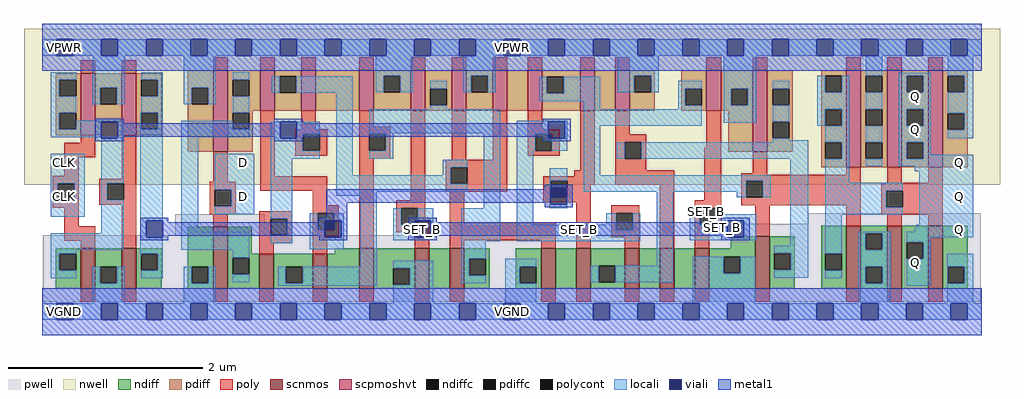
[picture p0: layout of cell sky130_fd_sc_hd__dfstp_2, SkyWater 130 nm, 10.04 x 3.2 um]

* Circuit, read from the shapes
.subckt sky130_fd_sc_hd__dfstp_2 CLK D SET_B VGND VNB VPB VPWR Q
XM1 VGND CLK n1 VNB sky130_fd_pr__nfet_01v8 w=0.42 l=0.15
XM2 n2 n1 VGND VNB sky130_fd_pr__nfet_01v8 w=0.42 l=0.15
XM3 n3 D VGND VNB sky130_fd_pr__nfet_01v8 w=0.64 l=0.15
XM4 n4 n1 n3 VNB sky130_fd_pr__nfet_01v8 w=0.36 l=0.15
XM5 n5 n2 n4 VNB sky130_fd_pr__nfet_01v8 w=0.36 l=0.15
XM6 VGND n6 n5 VNB sky130_fd_pr__nfet_01v8 w=0.42 l=0.15
XM7 n7 SET_B VGND VNB sky130_fd_pr__nfet_01v8 w=0.42 l=0.15
XM8 n6 n4 n7 VNB sky130_fd_pr__nfet_01v8 w=0.42 l=0.15
XM9 n8 n4 VGND VNB sky130_fd_pr__nfet_01v8 w=0.42 l=0.15
XM10 n9 n2 n8 VNB sky130_fd_pr__nfet_01v8 w=0.42 l=0.15
XM11 n10 n1 n9 VNB sky130_fd_pr__nfet_01v8 w=0.42 l=0.15
XM12 n11 n12 n10 VNB sky130_fd_pr__nfet_01v8 w=0.42 l=0.15
XM13 VGND SET_B n11 VNB sky130_fd_pr__nfet_01v8 w=0.42 l=0.15
XM14 n12 n9 VGND VNB sky130_fd_pr__nfet_01v8 w=0.54 l=0.15
XM15 VGND n9 n13 VNB sky130_fd_pr__nfet_01v8 w=0.65 l=0.15
XM16 Q n13 VGND VNB sky130_fd_pr__nfet_01v8 w=0.65 l=0.15 m=2
XM17 VPWR CLK n1 VPB sky130_fd_pr__pfet_01v8_hvt w=0.64 l=0.15
XM18 n2 n1 VPWR VPB sky130_fd_pr__pfet_01v8_hvt w=0.64 l=0.15
XM19 n3 D VPWR VPB sky130_fd_pr__pfet_01v8_hvt w=0.84 l=0.15
XM20 n4 n2 n3 VPB sky130_fd_pr__pfet_01v8_hvt w=0.42 l=0.15
XM21 n14 n1 n4 VPB sky130_fd_pr__pfet_01v8_hvt w=0.42 l=0.15
XM22 VPWR n6 n14 VPB sky130_fd_pr__pfet_01v8_hvt w=0.42 l=0.15
XM23 n6 SET_B VPWR VPB sky130_fd_pr__pfet_01v8_hvt w=0.42 l=0.15
XM24 VPWR n4 n6 VPB sky130_fd_pr__pfet_01v8_hvt w=0.42 l=0.15
XM25 n15 n4 VPWR VPB sky130_fd_pr__pfet_01v8_hvt w=0.42 l=0.15
XM26 n9 n1 n15 VPB sky130_fd_pr__pfet_01v8_hvt w=0.42 l=0.15
XM27 n16 n2 n9 VPB sky130_fd_pr__pfet_01v8_hvt w=0.42 l=0.15
XM28 VPWR n12 n16 VPB sky130_fd_pr__pfet_01v8_hvt w=0.42 l=0.15
XM29 VPWR SET_B n9 VPB sky130_fd_pr__pfet_01v8_hvt w=0.42 l=0.15
XM30 n12 n9 VPWR VPB sky130_fd_pr__pfet_01v8_hvt w=0.84 l=0.15
XM31 VPWR n9 n13 VPB sky130_fd_pr__pfet_01v8_hvt w=1 l=0.15
XM32 Q n13 VPWR VPB sky130_fd_pr__pfet_01v8_hvt w=1 l=0.15 m=2
.ends

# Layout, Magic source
magic
tech sky130A
magscale 1 2
<< nwell >>
rect -38 261 1970 582
<< pwell >>
rect 273 157 457 201
rect 1576 181 1930 203
rect 1390 157 1930 181
rect 1 21 1930 157
rect 29 -17 63 21
<< scnmos >>
rect 79 47 109 131
rect 163 47 193 131
rect 351 47 381 175
rect 446 47 476 119
rect 556 47 586 119
rect 652 47 682 131
rect 766 47 796 131
rect 838 47 868 131
rect 1026 47 1056 131
rect 1098 47 1128 131
rect 1198 47 1228 131
rect 1270 47 1300 131
rect 1342 47 1372 131
rect 1466 47 1496 155
rect 1654 47 1684 177
rect 1738 47 1768 177
rect 1822 47 1852 177
<< scpmoshvt >>
rect 79 363 109 491
rect 163 363 193 491
rect 351 329 381 497
rect 448 413 478 497
rect 532 413 562 497
rect 652 413 682 497
rect 758 413 788 497
rect 842 413 872 497
rect 926 413 956 497
rect 998 413 1028 497
rect 1106 413 1136 497
rect 1178 413 1208 497
rect 1366 413 1396 497
rect 1461 329 1491 497
rect 1654 297 1684 497
rect 1738 297 1768 497
rect 1822 297 1852 497
<< ndiff >>
rect 27 119 79 131
rect 27 85 35 119
rect 69 85 79 119
rect 27 47 79 85
rect 109 93 163 131
rect 109 59 119 93
rect 153 59 163 93
rect 109 47 163 59
rect 193 119 245 131
rect 193 85 203 119
rect 237 85 245 119
rect 193 47 245 85
rect 299 93 351 175
rect 299 59 307 93
rect 341 59 351 93
rect 299 47 351 59
rect 381 119 431 175
rect 1416 131 1466 155
rect 601 119 652 131
rect 381 111 446 119
rect 381 77 391 111
rect 425 77 446 111
rect 381 47 446 77
rect 476 93 556 119
rect 476 59 501 93
rect 535 59 556 93
rect 476 47 556 59
rect 586 47 652 119
rect 682 89 766 131
rect 682 55 722 89
rect 756 55 766 89
rect 682 47 766 55
rect 796 47 838 131
rect 868 109 920 131
rect 868 75 878 109
rect 912 75 920 109
rect 868 47 920 75
rect 974 93 1026 131
rect 974 59 982 93
rect 1016 59 1026 93
rect 974 47 1026 59
rect 1056 47 1098 131
rect 1128 95 1198 131
rect 1128 61 1144 95
rect 1178 61 1198 95
rect 1128 47 1198 61
rect 1228 47 1270 131
rect 1300 47 1342 131
rect 1372 113 1466 131
rect 1372 79 1402 113
rect 1436 79 1466 113
rect 1372 47 1466 79
rect 1496 120 1548 155
rect 1496 86 1506 120
rect 1540 86 1548 120
rect 1496 47 1548 86
rect 1602 119 1654 177
rect 1602 85 1610 119
rect 1644 85 1654 119
rect 1602 47 1654 85
rect 1684 161 1738 177
rect 1684 127 1694 161
rect 1728 127 1738 161
rect 1684 93 1738 127
rect 1684 59 1694 93
rect 1728 59 1738 93
rect 1684 47 1738 59
rect 1768 143 1822 177
rect 1768 109 1778 143
rect 1812 109 1822 143
rect 1768 47 1822 109
rect 1852 93 1904 177
rect 1852 59 1862 93
rect 1896 59 1904 93
rect 1852 47 1904 59
<< pdiff >>
rect 27 477 79 491
rect 27 443 35 477
rect 69 443 79 477
rect 27 409 79 443
rect 27 375 35 409
rect 69 375 79 409
rect 27 363 79 375
rect 109 461 163 491
rect 109 427 119 461
rect 153 427 163 461
rect 109 363 163 427
rect 193 477 245 491
rect 193 443 203 477
rect 237 443 245 477
rect 193 409 245 443
rect 193 375 203 409
rect 237 375 245 409
rect 193 363 245 375
rect 299 461 351 497
rect 299 427 307 461
rect 341 427 351 461
rect 299 329 351 427
rect 381 477 448 497
rect 381 443 391 477
rect 425 443 448 477
rect 381 413 448 443
rect 478 484 532 497
rect 478 450 488 484
rect 522 450 532 484
rect 478 413 532 450
rect 562 413 652 497
rect 682 485 758 497
rect 682 451 702 485
rect 736 451 758 485
rect 682 413 758 451
rect 788 459 842 497
rect 788 425 798 459
rect 832 425 842 459
rect 788 413 842 425
rect 872 485 926 497
rect 872 451 882 485
rect 916 451 926 485
rect 872 413 926 451
rect 956 413 998 497
rect 1028 483 1106 497
rect 1028 449 1038 483
rect 1072 449 1106 483
rect 1028 413 1106 449
rect 1136 413 1178 497
rect 1208 485 1260 497
rect 1208 451 1218 485
rect 1252 451 1260 485
rect 1208 413 1260 451
rect 1314 459 1366 497
rect 1314 425 1322 459
rect 1356 425 1366 459
rect 1314 413 1366 425
rect 1396 459 1461 497
rect 1396 425 1417 459
rect 1451 425 1461 459
rect 1396 413 1461 425
rect 381 409 433 413
rect 381 375 391 409
rect 425 375 433 409
rect 381 329 433 375
rect 1411 329 1461 413
rect 1491 459 1544 497
rect 1491 425 1502 459
rect 1536 425 1544 459
rect 1491 391 1544 425
rect 1491 357 1502 391
rect 1536 357 1544 391
rect 1491 329 1544 357
rect 1602 485 1654 497
rect 1602 451 1610 485
rect 1644 451 1654 485
rect 1602 417 1654 451
rect 1602 383 1610 417
rect 1644 383 1654 417
rect 1602 349 1654 383
rect 1602 315 1610 349
rect 1644 315 1654 349
rect 1602 297 1654 315
rect 1684 485 1738 497
rect 1684 451 1694 485
rect 1728 451 1738 485
rect 1684 417 1738 451
rect 1684 383 1694 417
rect 1728 383 1738 417
rect 1684 349 1738 383
rect 1684 315 1694 349
rect 1728 315 1738 349
rect 1684 297 1738 315
rect 1768 485 1822 497
rect 1768 451 1778 485
rect 1812 451 1822 485
rect 1768 417 1822 451
rect 1768 383 1778 417
rect 1812 383 1822 417
rect 1768 349 1822 383
rect 1768 315 1778 349
rect 1812 315 1822 349
rect 1768 297 1822 315
rect 1852 485 1904 497
rect 1852 451 1862 485
rect 1896 451 1904 485
rect 1852 408 1904 451
rect 1852 374 1862 408
rect 1896 374 1904 408
rect 1852 297 1904 374
<< ndiffc >>
rect 35 85 69 119
rect 119 59 153 93
rect 203 85 237 119
rect 307 59 341 93
rect 391 77 425 111
rect 501 59 535 93
rect 722 55 756 89
rect 878 75 912 109
rect 982 59 1016 93
rect 1144 61 1178 95
rect 1402 79 1436 113
rect 1506 86 1540 120
rect 1610 85 1644 119
rect 1694 127 1728 161
rect 1694 59 1728 93
rect 1778 109 1812 143
rect 1862 59 1896 93
<< pdiffc >>
rect 35 443 69 477
rect 35 375 69 409
rect 119 427 153 461
rect 203 443 237 477
rect 203 375 237 409
rect 307 427 341 461
rect 391 443 425 477
rect 488 450 522 484
rect 702 451 736 485
rect 798 425 832 459
rect 882 451 916 485
rect 1038 449 1072 483
rect 1218 451 1252 485
rect 1322 425 1356 459
rect 1417 425 1451 459
rect 391 375 425 409
rect 1502 425 1536 459
rect 1502 357 1536 391
rect 1610 451 1644 485
rect 1610 383 1644 417
rect 1610 315 1644 349
rect 1694 451 1728 485
rect 1694 383 1728 417
rect 1694 315 1728 349
rect 1778 451 1812 485
rect 1778 383 1812 417
rect 1778 315 1812 349
rect 1862 451 1896 485
rect 1862 374 1896 408
<< poly >>
rect 79 491 109 517
rect 163 491 193 517
rect 351 497 381 523
rect 448 497 478 523
rect 532 497 562 523
rect 652 497 682 523
rect 758 497 788 523
rect 842 497 872 523
rect 926 497 956 523
rect 998 497 1028 523
rect 1106 497 1136 523
rect 1178 497 1208 523
rect 1366 497 1396 523
rect 1461 497 1491 523
rect 1654 497 1684 523
rect 1738 497 1768 523
rect 1822 497 1852 523
rect 79 348 109 363
rect 45 318 109 348
rect 45 280 75 318
rect 21 264 75 280
rect 163 274 193 363
rect 21 230 31 264
rect 65 230 75 264
rect 21 214 75 230
rect 117 264 193 274
rect 351 267 381 329
rect 448 279 478 413
rect 532 375 562 413
rect 652 381 682 413
rect 520 365 586 375
rect 520 331 536 365
rect 570 331 586 365
rect 520 321 586 331
rect 652 365 716 381
rect 652 331 672 365
rect 706 331 716 365
rect 652 315 716 331
rect 117 230 133 264
rect 167 230 193 264
rect 117 220 193 230
rect 45 176 75 214
rect 45 146 109 176
rect 79 131 109 146
rect 163 131 193 220
rect 344 251 398 267
rect 344 217 354 251
rect 388 217 398 251
rect 448 249 586 279
rect 344 201 398 217
rect 556 219 586 249
rect 351 175 381 201
rect 446 191 514 207
rect 446 157 470 191
rect 504 157 514 191
rect 446 141 514 157
rect 556 203 610 219
rect 556 169 566 203
rect 600 169 610 203
rect 556 153 610 169
rect 446 119 476 141
rect 556 119 586 153
rect 652 131 682 315
rect 758 229 788 413
rect 842 313 872 413
rect 926 313 956 413
rect 998 375 1028 413
rect 998 365 1064 375
rect 998 331 1014 365
rect 1048 331 1064 365
rect 998 321 1064 331
rect 830 297 956 313
rect 830 263 840 297
rect 874 263 956 297
rect 1106 291 1136 413
rect 1094 279 1136 291
rect 830 247 956 263
rect 1030 269 1136 279
rect 728 213 788 229
rect 728 179 738 213
rect 772 193 788 213
rect 772 179 796 193
rect 728 163 796 179
rect 766 131 796 163
rect 838 183 868 247
rect 1030 235 1046 269
rect 1080 261 1136 269
rect 1178 365 1208 413
rect 1178 349 1242 365
rect 1178 315 1198 349
rect 1232 315 1242 349
rect 1366 337 1396 413
rect 1178 291 1242 315
rect 1178 261 1300 291
rect 1080 235 1128 261
rect 1030 225 1128 235
rect 838 147 1056 183
rect 838 131 868 147
rect 1026 131 1056 147
rect 1098 131 1128 225
rect 1170 203 1228 219
rect 1170 169 1180 203
rect 1214 169 1228 203
rect 1170 153 1228 169
rect 1198 131 1228 153
rect 1270 131 1300 261
rect 1362 229 1396 337
rect 1461 285 1491 329
rect 1342 213 1396 229
rect 1438 282 1491 285
rect 1654 282 1684 297
rect 1438 269 1684 282
rect 1438 235 1448 269
rect 1482 235 1684 269
rect 1738 265 1768 297
rect 1822 265 1852 297
rect 1438 219 1684 235
rect 1342 179 1352 213
rect 1386 179 1396 213
rect 1342 163 1396 179
rect 1342 131 1372 163
rect 1466 155 1496 219
rect 1654 177 1684 219
rect 1726 249 1852 265
rect 1726 215 1736 249
rect 1770 215 1852 249
rect 1726 199 1852 215
rect 1738 177 1768 199
rect 1822 177 1852 199
rect 79 21 109 47
rect 163 21 193 47
rect 351 21 381 47
rect 446 21 476 47
rect 556 21 586 47
rect 652 21 682 47
rect 766 21 796 47
rect 838 21 868 47
rect 1026 21 1056 47
rect 1098 21 1128 47
rect 1198 21 1228 47
rect 1270 21 1300 47
rect 1342 21 1372 47
rect 1466 21 1496 47
rect 1654 21 1684 47
rect 1738 21 1768 47
rect 1822 21 1852 47
<< polycont >>
rect 31 230 65 264
rect 536 331 570 365
rect 672 331 706 365
rect 133 230 167 264
rect 354 217 388 251
rect 470 157 504 191
rect 566 169 600 203
rect 1014 331 1048 365
rect 840 263 874 297
rect 738 179 772 213
rect 1046 235 1080 269
rect 1198 315 1232 349
rect 1180 169 1214 203
rect 1448 235 1482 269
rect 1352 179 1386 213
rect 1736 215 1770 249
<< locali >>
rect 0 527 29 561
rect 63 527 121 561
rect 155 527 213 561
rect 247 527 305 561
rect 339 527 397 561
rect 431 527 489 561
rect 523 527 581 561
rect 615 527 673 561
rect 707 527 765 561
rect 799 527 857 561
rect 891 527 949 561
rect 983 527 1041 561
rect 1075 527 1133 561
rect 1167 527 1225 561
rect 1259 527 1317 561
rect 1351 527 1409 561
rect 1443 527 1501 561
rect 1535 527 1593 561
rect 1627 527 1685 561
rect 1719 527 1777 561
rect 1811 527 1869 561
rect 1903 527 1932 561
rect 17 477 69 493
rect 17 443 35 477
rect 17 409 69 443
rect 103 461 169 527
rect 103 427 119 461
rect 153 427 169 461
rect 203 477 247 493
rect 237 443 247 477
rect 203 409 247 443
rect 291 461 357 527
rect 291 427 307 461
rect 341 427 357 461
rect 391 477 425 493
rect 686 485 762 527
rect 472 450 488 484
rect 522 450 638 484
rect 686 451 702 485
rect 736 451 762 485
rect 866 485 932 527
rect 798 459 832 475
rect 17 375 35 409
rect 69 391 167 393
rect 69 375 121 391
rect 17 359 121 375
rect 155 357 167 391
rect 17 264 87 325
rect 17 230 31 264
rect 65 230 87 264
rect 17 195 87 230
rect 121 264 167 357
rect 121 230 133 264
rect 121 161 167 230
rect 17 127 167 161
rect 201 375 203 409
rect 237 375 247 409
rect 391 409 425 443
rect 201 187 247 375
rect 201 153 213 187
rect 17 119 69 127
rect 17 85 35 119
rect 201 119 247 153
rect 286 375 391 393
rect 286 359 425 375
rect 286 165 320 359
rect 470 357 489 391
rect 523 365 570 391
rect 523 357 536 365
rect 470 331 536 357
rect 354 251 436 325
rect 388 217 436 251
rect 354 201 436 217
rect 470 315 570 331
rect 470 191 514 315
rect 604 281 638 450
rect 866 451 882 485
rect 916 451 932 485
rect 1184 485 1268 527
rect 1022 449 1038 483
rect 1072 449 1148 483
rect 1184 451 1218 485
rect 1252 451 1268 485
rect 1308 459 1356 475
rect 1022 433 1148 449
rect 798 417 832 425
rect 1114 417 1148 433
rect 1308 425 1322 459
rect 1308 417 1356 425
rect 672 367 942 417
rect 672 365 722 367
rect 706 331 722 365
rect 672 315 722 331
rect 824 297 874 313
rect 824 281 840 297
rect 604 263 840 281
rect 604 247 874 263
rect 604 239 688 247
rect 286 127 425 165
rect 504 157 514 191
rect 470 141 514 157
rect 550 169 566 203
rect 600 187 620 203
rect 550 153 581 169
rect 615 153 620 187
rect 550 129 620 153
rect 201 113 203 119
rect 17 69 69 85
rect 103 59 119 93
rect 153 59 169 93
rect 237 85 247 119
rect 391 111 425 127
rect 203 69 247 85
rect 103 17 169 59
rect 291 59 307 93
rect 341 59 357 93
rect 654 93 688 239
rect 908 213 942 367
rect 722 179 738 213
rect 772 187 804 213
rect 722 153 765 179
rect 799 153 804 187
rect 722 147 804 153
rect 862 145 942 213
rect 976 391 1080 393
rect 976 365 1041 391
rect 976 331 1014 365
rect 1075 357 1080 391
rect 1048 331 1080 357
rect 1114 383 1356 417
rect 1402 459 1468 527
rect 1694 485 1728 527
rect 1402 425 1417 459
rect 1451 425 1468 459
rect 1402 389 1468 425
rect 1502 459 1536 475
rect 1502 391 1536 425
rect 976 179 1010 331
rect 1044 269 1080 295
rect 1044 255 1046 269
rect 1044 221 1045 255
rect 1114 281 1148 383
rect 1594 451 1610 485
rect 1644 451 1660 485
rect 1594 417 1660 451
rect 1594 383 1610 417
rect 1644 383 1660 417
rect 1502 353 1536 357
rect 1502 349 1576 353
rect 1182 315 1198 349
rect 1232 315 1576 349
rect 1114 269 1498 281
rect 1114 247 1448 269
rect 1079 221 1080 235
rect 1044 213 1080 221
rect 1160 179 1180 203
rect 976 169 1180 179
rect 1214 169 1230 203
rect 976 145 1230 169
rect 862 109 912 145
rect 391 61 425 77
rect 291 17 357 59
rect 485 59 501 93
rect 535 59 688 93
rect 485 53 688 59
rect 722 89 804 105
rect 756 55 804 89
rect 862 75 878 109
rect 862 59 912 75
rect 952 93 1016 109
rect 1264 95 1298 247
rect 1428 235 1448 247
rect 1482 235 1498 269
rect 1332 179 1352 213
rect 1386 201 1402 213
rect 1386 187 1468 201
rect 1386 179 1409 187
rect 1332 153 1409 179
rect 1443 153 1468 187
rect 1332 147 1468 153
rect 1538 136 1576 315
rect 1506 120 1576 136
rect 952 59 982 93
rect 1128 61 1144 95
rect 1178 61 1298 95
rect 1338 79 1402 113
rect 1436 79 1466 113
rect 722 17 804 55
rect 952 17 1016 59
rect 1338 17 1466 79
rect 1540 86 1576 120
rect 1506 70 1576 86
rect 1610 349 1660 383
rect 1644 315 1660 349
rect 1610 265 1660 315
rect 1694 417 1728 451
rect 1694 349 1728 383
rect 1694 299 1728 315
rect 1762 485 1828 492
rect 1762 451 1778 485
rect 1812 451 1828 485
rect 1762 417 1828 451
rect 1762 383 1778 417
rect 1812 383 1828 417
rect 1762 349 1828 383
rect 1862 485 1915 527
rect 1896 451 1915 485
rect 1862 408 1915 451
rect 1896 374 1915 408
rect 1862 357 1915 374
rect 1762 315 1778 349
rect 1812 323 1828 349
rect 1812 315 1915 323
rect 1762 299 1915 315
rect 1795 289 1915 299
rect 1610 249 1770 265
rect 1610 215 1736 249
rect 1610 199 1770 215
rect 1610 119 1644 199
rect 1804 179 1915 289
rect 1798 171 1915 179
rect 1795 165 1915 171
rect 1610 69 1644 85
rect 1678 161 1744 165
rect 1678 127 1694 161
rect 1728 127 1744 161
rect 1678 93 1744 127
rect 1678 59 1694 93
rect 1728 59 1744 93
rect 1678 17 1744 59
rect 1778 153 1915 165
rect 1778 143 1827 153
rect 1812 109 1827 143
rect 1778 53 1827 109
rect 1861 93 1915 119
rect 1861 59 1862 93
rect 1896 59 1915 93
rect 1861 17 1915 59
rect 0 -17 29 17
rect 63 -17 121 17
rect 155 -17 213 17
rect 247 -17 305 17
rect 339 -17 397 17
rect 431 -17 489 17
rect 523 -17 581 17
rect 615 -17 673 17
rect 707 -17 765 17
rect 799 -17 857 17
rect 891 -17 949 17
rect 983 -17 1041 17
rect 1075 -17 1133 17
rect 1167 -17 1225 17
rect 1259 -17 1317 17
rect 1351 -17 1409 17
rect 1443 -17 1501 17
rect 1535 -17 1593 17
rect 1627 -17 1685 17
rect 1719 -17 1777 17
rect 1811 -17 1869 17
rect 1903 -17 1932 17
<< viali >>
rect 29 527 63 561
rect 121 527 155 561
rect 213 527 247 561
rect 305 527 339 561
rect 397 527 431 561
rect 489 527 523 561
rect 581 527 615 561
rect 673 527 707 561
rect 765 527 799 561
rect 857 527 891 561
rect 949 527 983 561
rect 1041 527 1075 561
rect 1133 527 1167 561
rect 1225 527 1259 561
rect 1317 527 1351 561
rect 1409 527 1443 561
rect 1501 527 1535 561
rect 1593 527 1627 561
rect 1685 527 1719 561
rect 1777 527 1811 561
rect 1869 527 1903 561
rect 121 357 155 391
rect 213 153 247 187
rect 489 357 523 391
rect 581 169 600 187
rect 600 169 615 187
rect 581 153 615 169
rect 765 179 772 187
rect 772 179 799 187
rect 765 153 799 179
rect 1041 365 1075 391
rect 1041 357 1048 365
rect 1048 357 1075 365
rect 1045 235 1046 255
rect 1046 235 1079 255
rect 1045 221 1079 235
rect 1409 153 1443 187
rect 29 -17 63 17
rect 121 -17 155 17
rect 213 -17 247 17
rect 305 -17 339 17
rect 397 -17 431 17
rect 489 -17 523 17
rect 581 -17 615 17
rect 673 -17 707 17
rect 765 -17 799 17
rect 857 -17 891 17
rect 949 -17 983 17
rect 1041 -17 1075 17
rect 1133 -17 1167 17
rect 1225 -17 1259 17
rect 1317 -17 1351 17
rect 1409 -17 1443 17
rect 1501 -17 1535 17
rect 1593 -17 1627 17
rect 1685 -17 1719 17
rect 1777 -17 1811 17
rect 1869 -17 1903 17
<< metal1 >>
rect 0 561 1932 592
rect 0 527 29 561
rect 63 527 121 561
rect 155 527 213 561
rect 247 527 305 561
rect 339 527 397 561
rect 431 527 489 561
rect 523 527 581 561
rect 615 527 673 561
rect 707 527 765 561
rect 799 527 857 561
rect 891 527 949 561
rect 983 527 1041 561
rect 1075 527 1133 561
rect 1167 527 1225 561
rect 1259 527 1317 561
rect 1351 527 1409 561
rect 1443 527 1501 561
rect 1535 527 1593 561
rect 1627 527 1685 561
rect 1719 527 1777 561
rect 1811 527 1869 561
rect 1903 527 1932 561
rect 0 496 1932 527
rect 109 391 167 397
rect 109 357 121 391
rect 155 388 167 391
rect 477 391 535 397
rect 477 388 489 391
rect 155 360 489 388
rect 155 357 167 360
rect 109 351 167 357
rect 477 357 489 360
rect 523 388 535 391
rect 1029 391 1087 397
rect 1029 388 1041 391
rect 523 360 1041 388
rect 523 357 535 360
rect 477 351 535 357
rect 1029 357 1041 360
rect 1075 357 1087 391
rect 1029 351 1087 357
rect 1033 255 1091 261
rect 1033 252 1045 255
rect 584 224 1045 252
rect 584 193 627 224
rect 1033 221 1045 224
rect 1079 221 1091 255
rect 1033 215 1091 221
rect 201 187 259 193
rect 201 153 213 187
rect 247 184 259 187
rect 569 187 627 193
rect 569 184 581 187
rect 247 156 581 184
rect 247 153 259 156
rect 201 147 259 153
rect 569 153 581 156
rect 615 153 627 187
rect 569 147 627 153
rect 753 187 811 193
rect 753 153 765 187
rect 799 184 811 187
rect 1397 187 1455 193
rect 1397 184 1409 187
rect 799 156 1409 184
rect 799 153 811 156
rect 753 147 811 153
rect 1397 153 1409 156
rect 1443 153 1455 187
rect 1397 147 1455 153
rect 0 17 1932 48
rect 0 -17 29 17
rect 63 -17 121 17
rect 155 -17 213 17
rect 247 -17 305 17
rect 339 -17 397 17
rect 431 -17 489 17
rect 523 -17 581 17
rect 615 -17 673 17
rect 707 -17 765 17
rect 799 -17 857 17
rect 891 -17 949 17
rect 983 -17 1041 17
rect 1075 -17 1133 17
rect 1167 -17 1225 17
rect 1259 -17 1317 17
rect 1351 -17 1409 17
rect 1443 -17 1501 17
rect 1535 -17 1593 17
rect 1627 -17 1685 17
rect 1719 -17 1777 17
rect 1811 -17 1869 17
rect 1903 -17 1932 17
rect 0 -48 1932 -17
<< labels >>
flabel locali s 1869 153 1903 187 0 FreeSans 400 0 0 0 Q
port 8 nsew signal output
flabel locali s 1869 289 1903 323 0 FreeSans 400 0 0 0 Q
port 8 nsew signal output
flabel locali s 1869 221 1903 255 0 FreeSans 400 0 0 0 Q
port 8 nsew signal output
flabel locali s 397 289 431 323 0 FreeSans 200 0 0 0 D
port 2 nsew signal input
flabel locali s 397 221 431 255 0 FreeSans 200 0 0 0 D
port 2 nsew signal input
flabel locali s 29 527 63 561 3 FreeSans 400 0 0 0 VPWR
port 7 nsew power bidirectional abutment
flabel locali s 1779 425 1813 459 0 FreeSans 400 0 0 0 Q
port 8 nsew signal output
flabel locali s 1779 357 1813 391 0 FreeSans 400 0 0 0 Q
port 8 nsew signal output
flabel locali s 1779 85 1813 119 0 FreeSans 400 0 0 0 Q
port 8 nsew signal output
flabel locali s 765 153 799 187 0 FreeSans 400 0 0 0 SET_B
port 3 nsew signal input
flabel locali s 29 289 63 323 0 FreeSans 400 0 0 0 CLK
port 1 nsew clock input
flabel locali s 29 221 63 255 0 FreeSans 400 0 0 0 CLK
port 1 nsew clock input
flabel locali s 29 -17 63 17 3 FreeSans 400 0 0 0 VGND
port 4 nsew ground bidirectional abutment
flabel nwell s 29 527 63 561 0 FreeSans 200 0 0 0 VPB
port 6 nsew power bidirectional
flabel nwell s 46 544 46 544 3 FreeSans 400 0 0 0 VPB
flabel pwell s 29 -17 63 17 0 FreeSans 200 0 0 0 VNB
port 5 nsew ground bidirectional
flabel pwell s 46 0 46 0 3 FreeSans 400 0 0 0 VNB
flabel metal1 s 29 527 63 561 0 FreeSans 200 0 0 0 VPWR
port 7 nsew power bidirectional abutment
flabel metal1 s 29 -17 63 17 0 FreeSans 200 0 0 0 VGND
port 4 nsew ground bidirectional abutment
rlabel comment s 0 0 0 0 4 dfstp_2
rlabel locali s 1332 201 1402 213 1 SET_B
port 3 nsew signal input
rlabel locali s 1332 147 1468 201 1 SET_B
port 3 nsew signal input
rlabel metal1 s 1397 184 1455 193 1 SET_B
port 3 nsew signal input
rlabel metal1 s 1397 147 1455 156 1 SET_B
port 3 nsew signal input
rlabel metal1 s 753 184 811 193 1 SET_B
port 3 nsew signal input
rlabel metal1 s 753 156 1455 184 1 SET_B
port 3 nsew signal input
rlabel metal1 s 753 147 811 156 1 SET_B
port 3 nsew signal input
rlabel metal1 s 0 -48 1932 48 1 VGND
port 4 nsew ground bidirectional abutment
rlabel metal1 s 0 496 1932 592 1 VPWR
port 7 nsew power bidirectional abutment
<< properties >>
string FIXED_BBOX 0 0 1932 544
string GDS_END 2547008
string GDS_FILE $PDKPATH/libs.ref/sky130_fd_sc_hd/gds/sky130_fd_sc_hd.gds
string GDS_START 2530896
string LEFclass CORE
string LEFsite unithd
string LEFsymmetry X Y R90
<< end >>
